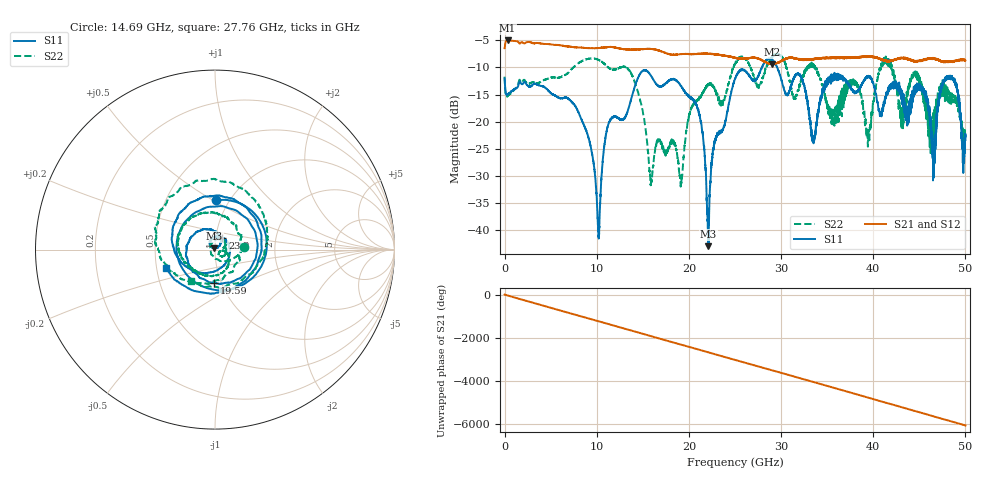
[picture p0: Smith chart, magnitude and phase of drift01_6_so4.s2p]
!Created with skrf (http://scikit-rf.org).
# Hz S RI R 50.0
!freq ReS11 ImS11 ReS21 ImS21 ReS12 ImS12 ReS22 ImS22
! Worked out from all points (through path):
!   10001 points, 300 kHz to 50 GHz, reference 50 ohm
!   highest |S21| = -5.05 dB at 325.3 MHz (marker M1); lowest = -9.4 dB at 29.04 GHz (marker M2)
!   group delay of S21, straight-line fit = 336 ps
!   lowest |S11| = -42.9 dB at 22.11 GHz (marker M3), VSWR 1.01, Z = 49.7 + j0.635 ohm
!   |S11| at or under -10 dB: start of sweep to 27.92 GHz; 29.58 GHz to end of sweep
!   |S22| runs from -32.0 to -7.5 dB; largest |S21 - S12| = 0.012
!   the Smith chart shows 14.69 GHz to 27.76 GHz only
!   S11 on the Smith chart (normalised r, x): 14.69 GHz: 0.87, +0.52; 19.59 GHz: 0.92, -0.35; 23.2 GHz: 1.08, +0.14; 27.76 GHz: 0.56, -0.13
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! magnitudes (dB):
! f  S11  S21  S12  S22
! 300 kHz  -12.0  -6.5  -6.5  -11.7
! 325.3 MHz  -15.0  -5.0  -5.1  -15.3
! 8.335 GHz  -19.6  -6.4  -6.4  -8.9
! 10.2 GHz  -41.0  -6.4  -6.4  -8.6
! 11.23 GHz  -20.7  -6.3  -6.3  -10.0
! 14.69 GHz  -11.2  -6.7  -6.7  -15.9
! 15.87 GHz  -11.5  -6.6  -6.6  -31.5
! 16.67 GHz  -13.4  -6.9  -6.9  -23.1
! 19.59 GHz  -14.7  -7.5  -7.5  -23.7
! 21.2 GHz  -19.0  -7.5  -7.5  -15.6
! 22.11 GHz  -42.9  -7.5  -7.5  -13.2
! 23.2 GHz  -22.2  -7.7  -7.7  -16.0
! 25 GHz  -12.1  -8.2  -8.3  -9.4
! 27.76 GHz  -10.7  -8.6  -8.6  -13.1
! 29.04 GHz  -8.6  -9.4  -9.4  -8.1
! 33.34 GHz  -22.6  -8.5  -8.5  -9.6
! 39.47 GHz  -11.7  -8.0  -8.1  -22.7
! 41.67 GHz  -13.9  -8.8  -8.8  -9.1
! 45.36 GHz  -14.0  -8.7  -8.7  -14.3
! 46.55 GHz  -28.0  -8.4  -8.3  -20.1
! 48.52 GHz  -11.7  -8.9  -9.0  -15.0
! 50 GHz  -23.4  -8.7  -8.7  -22.9
